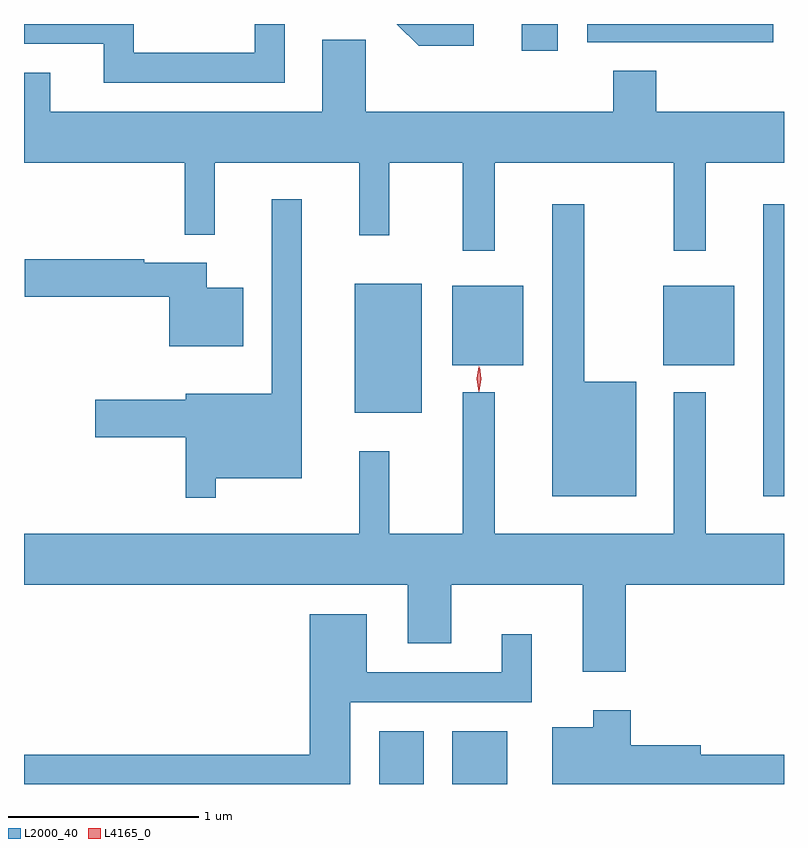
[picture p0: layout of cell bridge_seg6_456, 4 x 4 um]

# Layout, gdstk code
import gdstk
lib = gdstk.Library(unit=1e-6, precision=1e-09)
def R(c, l, rs):  # rectangles x0, y0, x1, y1
    for r in rs: c.add(gdstk.rectangle(r[:2], r[2:], *l))
def P(c, l, *ps):  # polygons
    for p in ps: c.add(gdstk.Polygon(p, *l))
L2000_40 = (2000, 40)
L4165_0 = (4165, 0)

bridge_seg6_456 = lib.new_cell('bridge_seg6_456')
R(bridge_seg6_456, L2000_40, [(623.761,1548.986,623.994,1549.264), (624.146,1548.986,624.434,1549.264), (625.781,1550.501,625.891,1552.038), (623.631,1550.941,623.984,1551.619), (624.146,1551.191,624.519,1551.609), (625.256,1551.191,625.629,1551.609), (624.511,1552.846,624.699,1552.986), (624.856,1552.891,625.834,1552.986)])
P(bridge_seg6_456, L2000_40, [(623.264,1552.986),(623.106,1552.986),(623.106,1552.834),(622.469,1552.834),(622.469,1552.986),(621.891,1552.986),(621.891,1552.881),(622.311,1552.881),(622.311,1552.676),(623.264,1552.676)],
  [(624.258,1552.986),(623.854,1552.986),(623.969,1552.871),(624.258,1552.871)],
  [(621.891,1552.729),(621.891,1552.256),(622.736,1552.256),(622.736,1551.878),(622.894,1551.878),(622.894,1552.256),(623.656,1552.256),(623.656,1551.873),(623.814,1551.873),(623.814,1552.256),(624.201,1552.256),(624.201,1551.793),(624.369,1551.793),(624.369,1552.256),(625.311,1552.256),(625.311,1551.793),(625.479,1551.793),(625.479,1552.256),(625.891,1552.256),(625.891,1552.524),(625.219,1552.524),(625.219,1552.739),(624.991,1552.739),(624.991,1552.524),(623.689,1552.524),(623.689,1552.904),(623.461,1552.904),(623.461,1552.524),(622.029,1552.524),(622.029,1552.729)],
  [(622.899,1550.596),(623.354,1550.596),(623.354,1552.063),(623.196,1552.063),(623.196,1551.039),(622.741,1551.039),(622.741,1551.009),(622.266,1551.009),(622.266,1550.811),(622.741,1550.811),(622.741,1550.493),(622.899,1550.493)],
  [(625.114,1551.104),(624.839,1551.104),(624.839,1552.038),(624.671,1552.038),(624.671,1550.501),(625.114,1550.501)],
  [(623.044,1551.599),(622.854,1551.599),(622.854,1551.729),(622.524,1551.729),(622.524,1551.749),(621.896,1551.749),(621.896,1551.551),(622.656,1551.551),(622.656,1551.291),(623.044,1551.291)],
  [(625.059,1550.036),(625.891,1550.036),(625.891,1550.304),(625.479,1550.304),(625.479,1551.048),(625.311,1551.048),(625.311,1550.304),(624.369,1550.304),(624.369,1551.048),(624.201,1551.048),(624.201,1550.304),(623.814,1550.304),(623.814,1550.738),(623.656,1550.738),(623.656,1550.304),(621.891,1550.304),(621.891,1550.036),(623.911,1550.036),(623.911,1549.726),(624.139,1549.726),(624.139,1550.036),(624.831,1550.036),(624.831,1549.576),(625.059,1549.576)],
  [(623.609,1549.416),(624.564,1549.416),(624.564,1549.773),(624.406,1549.773),(624.406,1549.574),(623.694,1549.574),(623.694,1549.879),(623.396,1549.879),(623.396,1549.139),(621.891,1549.139),(621.891,1548.986),(623.609,1548.986)],
  [(625.891,1549.139),(625.454,1549.139),(625.454,1549.189),(625.084,1549.189),(625.084,1549.374),(624.886,1549.374),(624.886,1549.284),(624.671,1549.284),(624.671,1548.986),(625.891,1548.986)])
P(bridge_seg6_456, L4165_0, [(624.287,1551.053),(624.278,1551.118),(624.289,1551.182),(624.289,1551.182),(624.29,1551.182),(624.298,1551.117),(624.288,1551.053),(624.288,1551.053)],
  [(624.284,1551.05),(624.275,1551.118),(624.284,1551.186),(624.285,1551.186),(624.285,1551.186),(624.295,1551.118),(624.285,1551.05),(624.285,1551.05)])

lib.write_gds('bridge_seg6_456.gds')
